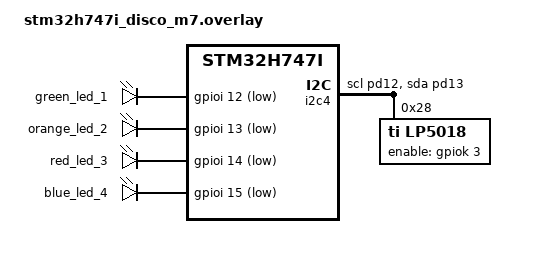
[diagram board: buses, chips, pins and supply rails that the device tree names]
/*
 * Copyright (c) 2023 Kistler Instrumente AG
 * SPDX-License-Identifier: Apache-2.0
 */

#include <dt-bindings/led/led.h>

&green_led_1 {
	status = "okay";
	/* LED is active low, overwrite default DT */
	gpios = <&gpioi 12 GPIO_ACTIVE_LOW>;
};

&orange_led_2 {
	status = "okay";
	/* LED is active low, overwrite default DT */
	gpios = <&gpioi 13 GPIO_ACTIVE_LOW>;
};

&red_led_3 {
	status = "okay";
	/* LED is active low, overwrite default DT */
	gpios = <&gpioi 14 GPIO_ACTIVE_LOW>;
};

&blue_led_4 {
	status = "okay";
	/* LED is active low, overwrite default DT */
	gpios = <&gpioi 15 GPIO_ACTIVE_LOW>;
};

&i2c4 {
	status = "okay";
	pinctrl-0 = <&i2c4_scl_pd12 &i2c4_sda_pd13>;
	pinctrl-names = "default";

	lp5018@28 {
		compatible = "ti,lp5018";
		status = "okay";
		reg = <0x28>;
		enable-gpios = <&gpiok 3 GPIO_ACTIVE_HIGH>;
		log_scale_en;

		led_0 {
			label = "STATUS 0 RGB";
			index = <0>;
			color-mapping =
				<LED_COLOR_ID_RED>,
				<LED_COLOR_ID_GREEN>,
				<LED_COLOR_ID_BLUE>;
			default-brightness = <5>;
			norm-value = <0xff>;
		};

		led_1 {
			label = "STATUS 1 RGB";
			index = <1>;
			color-mapping =
				<LED_COLOR_ID_RED>,
				<LED_COLOR_ID_GREEN>,
				<LED_COLOR_ID_BLUE>;
			default-brightness = <10>;
			norm-value = <0xff>;
		};

		led_2 {
			label = "STATUS 2 RGB";
			index = <2>;
			color-mapping =
				<LED_COLOR_ID_RED>,
				<LED_COLOR_ID_GREEN>,
				<LED_COLOR_ID_BLUE>;
			default-brightness = <25>;
			norm-value = <0xff>;
		};

		led_3 {
			label = "STATUS 3 RGB";
			index = <3>;
			color-mapping =
				<LED_COLOR_ID_RED>,
				<LED_COLOR_ID_GREEN>,
				<LED_COLOR_ID_BLUE>;
			default-brightness = <50>;
			norm-value = <0xff>;
		};

		led_4 {
			label = "STATUS 4 BGR";
			index = <4>;
			color-mapping =
				<LED_COLOR_ID_BLUE>,
				<LED_COLOR_ID_GREEN>,
				<LED_COLOR_ID_RED>;
			default-brightness = <75>;
			norm-value = <0xff>;
		};

		led_5 {
			label = "STATUS 5 GBR";
			index = <5>;
			color-mapping =
				<LED_COLOR_ID_GREEN>,
				<LED_COLOR_ID_BLUE>,
				<LED_COLOR_ID_RED>;
			norm-value = <0xff>;
		};
	};
};
